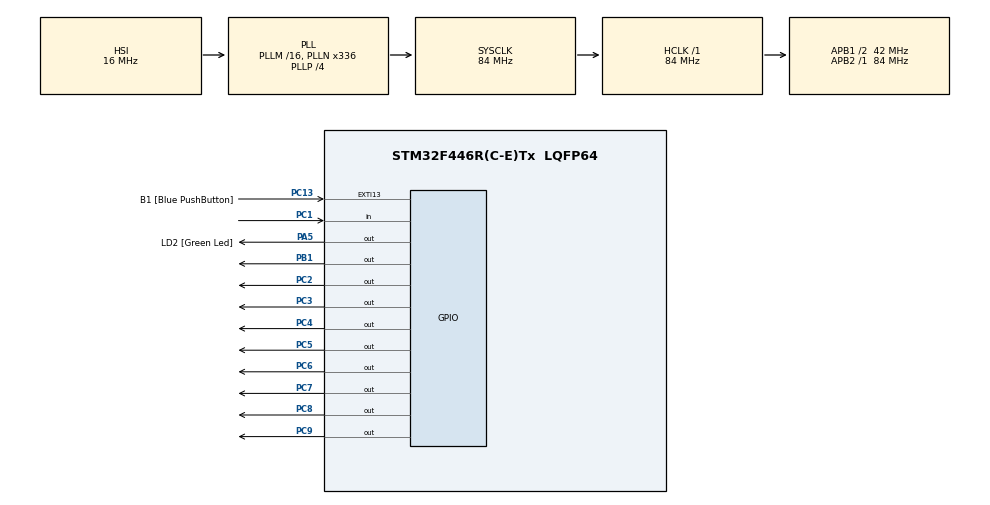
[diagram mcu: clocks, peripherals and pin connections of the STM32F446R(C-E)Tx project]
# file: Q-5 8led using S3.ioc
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Mcu.Family=STM32F4
Mcu.Name=STM32F446R(C-E)Tx
Mcu.Package=LQFP64
NVIC.PriorityGroup=NVIC_PRIORITYGROUP_0
PA13.GPIO_Label=TMS
PA13.Signal=SYS_JTMS-SWDIO
PA14.GPIO_Label=TCK
PA14.Signal=SYS_JTCK-SWCLK
PA2.GPIO_Label=USART_TX
PA2.Signal=USART2_TX
PA3.GPIO_Label=USART_RX
PA3.Signal=USART2_RX
PA5.GPIO_Label=LD2 [Green Led]
PA5.Signal=GPIO_Output
PB1.Signal=GPIO_Output
PB3.GPIO_Label=SWO
PB3.Signal=SYS_JTDO-SWO
PC1.GPIO_PuPd=GPIO_PULLUP
PC1.Signal=GPIO_Input
PC13.GPIO_Label=B1 [Blue PushButton]
PC13.GPIO_ModeDefaultEXTI=GPIO_MODE_IT_FALLING
PC13.Signal=GPXTI13
PC14-OSC32_IN.Signal=RCC_OSC32_IN
PC15-OSC32_OUT.Signal=RCC_OSC32_OUT
PC2.Signal=GPIO_Output
PC3.Signal=GPIO_Output
PC4.Signal=GPIO_Output
PC5.Signal=GPIO_Output
PC6.Signal=GPIO_Output
PC7.Signal=GPIO_Output
PC8.Signal=GPIO_Output
PC9.Signal=GPIO_Output
PH0-OSC_IN.Signal=RCC_OSC_IN
PH1-OSC_OUT.Signal=RCC_OSC_OUT
ProjectManager.HeapSize=0x200
ProjectManager.StackSize=0x400
ProjectManager.TargetToolchain=STM32CubeIDE
RCC.AHBFreq_Value=84000000
RCC.APB1CLKDivider=RCC_HCLK_DIV2
RCC.APB1Freq_Value=42000000
RCC.APB1TimFreq_Value=84000000
RCC.APB2Freq_Value=84000000
RCC.APB2TimFreq_Value=84000000
RCC.CortexFreq_Value=84000000
RCC.FLatency-AdvancedSettings=FLASH_LATENCY_2
RCC.HCLKFreq_Value=84000000
RCC.HSE_VALUE=8000000
RCC.HSI_VALUE=16000000
RCC.LSE_VALUE=32768
RCC.PLLN=336
RCC.PLLP=RCC_PLLP_DIV4
RCC.SYSCLKFreq_VALUE=84000000
RCC.SYSCLKSource=RCC_SYSCLKSOURCE_PLLCLK
RCC.USBFreq_Value=168000000
RCC.VCOOutputFreq_Value=336000000
board=NUCLEO-F446RE

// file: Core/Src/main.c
/* USER CODE BEGIN Header */
/**
  ******************************************************************************
  * @file           : main.c
  * @brief          : Main program body
  ******************************************************************************
  * @attention
  *
  * Copyright (c) 2024 STMicroelectronics.
  * All rights reserved.
  *
  * This software is licensed under terms that can be found in the LICENSE file
  * in the root directory of this software component.
  * If no LICENSE file comes with this software, it is provided AS-IS.
  *
  ******************************************************************************
  */
/* USER CODE END Header */
#include "main.h"

void SystemClock_Config(void);
static void MX_GPIO_Init(void);

int main(void)
{

  /* MCU Configuration--------------------------------------------------------*/

  /* Reset of all peripherals, Initializes the Flash interface and the Systick. */
  HAL_Init();

  /* Configure the system clock */
  SystemClock_Config();

  /* Initialize all configured peripherals */
  MX_GPIO_Init();

  /* Infinite loop */
  while (1)
  {

    /* USER CODE BEGIN 3 */
	  if(HAL_GPIO_ReadPin(GPIOC, GPIO_PIN_1)==GPIO_PIN_RESET)
	  	 	  	  {
	  	 	  	  	  HAL_GPIO_WritePin(GPIOC, GPIO_PIN_2,1);
	  	 	  	  	  HAL_GPIO_WritePin(GPIOC, GPIO_PIN_3,1);//If pressed Led Switch On
	  	 	  	   HAL_GPIO_WritePin(GPIOC, GPIO_PIN_4,1);
	  	 	  	 HAL_GPIO_WritePin(GPIOC, GPIO_PIN_5,1);
	  	 	  HAL_GPIO_WritePin(GPIOC, GPIO_PIN_6,1);
	  	 	 HAL_GPIO_WritePin(GPIOC, GPIO_PIN_7,1);
	  	 	 HAL_GPIO_WritePin(GPIOC, GPIO_PIN_8,1);
	  	 	 HAL_GPIO_WritePin(GPIOB, GPIO_PIN_1,1);
	  	 	  	  }
	  	 	  	  else
	  	 	  	  {
	  	 	  		  HAL_GPIO_WritePin(GPIOC,GPIO_PIN_2,0);
	  	 	  	      HAL_GPIO_WritePin(GPIOC,GPIO_PIN_3,0);
	  	 	  	   HAL_GPIO_WritePin(GPIOC,GPIO_PIN_4,0);
	  	 	  	   HAL_GPIO_WritePin(GPIOC,GPIO_PIN_5,0);
	  	 	  	 HAL_GPIO_WritePin(GPIOC,GPIO_PIN_6,0);
	  	 	  HAL_GPIO_WritePin(GPIOC,GPIO_PIN_7,0);
	  	 	 HAL_GPIO_WritePin(GPIOC,GPIO_PIN_8,0);
	  	 	 HAL_GPIO_WritePin(GPIOB,GPIO_PIN_1,0);
	  	 	  	  }
	  	   }

  /* USER CODE END 3 */
}

void SystemClock_Config(void)
{
  RCC_OscInitTypeDef RCC_OscInitStruct = {0};
  RCC_ClkInitTypeDef RCC_ClkInitStruct = {0};

  /** Configure the main internal regulator output voltage
  */
  __HAL_RCC_PWR_CLK_ENABLE();
  __HAL_PWR_VOLTAGESCALING_CONFIG(PWR_REGULATOR_VOLTAGE_SCALE3);

  /** Initializes the RCC Oscillators according to the specified parameters
  * in the RCC_OscInitTypeDef structure.
  */
  RCC_OscInitStruct.OscillatorType = RCC_OSCILLATORTYPE_HSI;
  RCC_OscInitStruct.HSIState = RCC_HSI_ON;
  RCC_OscInitStruct.HSICalibrationValue = RCC_HSICALIBRATION_DEFAULT;
  RCC_OscInitStruct.PLL.PLLState = RCC_PLL_ON;
  RCC_OscInitStruct.PLL.PLLSource = RCC_PLLSOURCE_HSI;
  RCC_OscInitStruct.PLL.PLLM = 16;
  RCC_OscInitStruct.PLL.PLLN = 336;
  RCC_OscInitStruct.PLL.PLLP = RCC_PLLP_DIV4;
  RCC_OscInitStruct.PLL.PLLQ = 2;
  RCC_OscInitStruct.PLL.PLLR = 2;
  if (HAL_RCC_OscConfig(&RCC_OscInitStruct) != HAL_OK)
  {
    Error_Handler();
  }

  /** Initializes the CPU, AHB and APB buses clocks
  */
  RCC_ClkInitStruct.ClockType = RCC_CLOCKTYPE_HCLK|RCC_CLOCKTYPE_SYSCLK
                              |RCC_CLOCKTYPE_PCLK1|RCC_CLOCKTYPE_PCLK2;
  RCC_ClkInitStruct.SYSCLKSource = RCC_SYSCLKSOURCE_PLLCLK;
  RCC_ClkInitStruct.AHBCLKDivider = RCC_SYSCLK_DIV1;
  RCC_ClkInitStruct.APB1CLKDivider = RCC_HCLK_DIV2;
  RCC_ClkInitStruct.APB2CLKDivider = RCC_HCLK_DIV1;

  if (HAL_RCC_ClockConfig(&RCC_ClkInitStruct, FLASH_LATENCY_2) != HAL_OK)
  {
    Error_Handler();
  }
}

static void MX_GPIO_Init(void)
{
  GPIO_InitTypeDef GPIO_InitStruct = {0};

  /* GPIO Ports Clock Enable */
  __HAL_RCC_GPIOC_CLK_ENABLE();
  __HAL_RCC_GPIOH_CLK_ENABLE();
  __HAL_RCC_GPIOA_CLK_ENABLE();
  __HAL_RCC_GPIOB_CLK_ENABLE();

  /*Configure GPIO pin Output Level */
  HAL_GPIO_WritePin(GPIOC, GPIO_PIN_2|GPIO_PIN_3|GPIO_PIN_4|GPIO_PIN_5
                          |GPIO_PIN_6|GPIO_PIN_7|GPIO_PIN_8|GPIO_PIN_9, GPIO_PIN_RESET);

  /*Configure GPIO pin Output Level */
  HAL_GPIO_WritePin(LD2_GPIO_Port, LD2_Pin, GPIO_PIN_RESET);

  /*Configure GPIO pin Output Level */
  HAL_GPIO_WritePin(GPIOB, GPIO_PIN_1, GPIO_PIN_RESET);

  /*Configure GPIO pin : B1_Pin */
  GPIO_InitStruct.Pin = B1_Pin;
  GPIO_InitStruct.Mode = GPIO_MODE_IT_FALLING;
  GPIO_InitStruct.Pull = GPIO_NOPULL;
  HAL_GPIO_Init(B1_GPIO_Port, &GPIO_InitStruct);

  /*Configure GPIO pin : PC1 */
  GPIO_InitStruct.Pin = GPIO_PIN_1;
  GPIO_InitStruct.Mode = GPIO_MODE_INPUT;
  GPIO_InitStruct.Pull = GPIO_PULLUP;
  HAL_GPIO_Init(GPIOC, &GPIO_InitStruct);

  /*Configure GPIO pins : PC2 PC3 PC4 PC5
                           PC6 PC7 PC8 PC9 */
  GPIO_InitStruct.Pin = GPIO_PIN_2|GPIO_PIN_3|GPIO_PIN_4|GPIO_PIN_5
                          |GPIO_PIN_6|GPIO_PIN_7|GPIO_PIN_8|GPIO_PIN_9;
  GPIO_InitStruct.Mode = GPIO_MODE_OUTPUT_PP;
  GPIO_InitStruct.Pull = GPIO_NOPULL;
  GPIO_InitStruct.Speed = GPIO_SPEED_FREQ_LOW;
  HAL_GPIO_Init(GPIOC, &GPIO_InitStruct);

  /*Configure GPIO pins : USART_TX_Pin USART_RX_Pin */
  GPIO_InitStruct.Pin = USART_TX_Pin|USART_RX_Pin;
  GPIO_InitStruct.Mode = GPIO_MODE_AF_PP;
  GPIO_InitStruct.Pull = GPIO_NOPULL;
  GPIO_InitStruct.Speed = GPIO_SPEED_FREQ_VERY_HIGH;
  GPIO_InitStruct.Alternate = GPIO_AF7_USART2;
  HAL_GPIO_Init(GPIOA, &GPIO_InitStruct);

  /*Configure GPIO pin : LD2_Pin */
  GPIO_InitStruct.Pin = LD2_Pin;
  GPIO_InitStruct.Mode = GPIO_MODE_OUTPUT_PP;
  GPIO_InitStruct.Pull = GPIO_NOPULL;
  GPIO_InitStruct.Speed = GPIO_SPEED_FREQ_LOW;
  HAL_GPIO_Init(LD2_GPIO_Port, &GPIO_InitStruct);

  /*Configure GPIO pin : PB1 */
  GPIO_InitStruct.Pin = GPIO_PIN_1;
  GPIO_InitStruct.Mode = GPIO_MODE_OUTPUT_PP;
  GPIO_InitStruct.Pull = GPIO_NOPULL;
  GPIO_InitStruct.Speed = GPIO_SPEED_FREQ_LOW;
  HAL_GPIO_Init(GPIOB, &GPIO_InitStruct);

}

void Error_Handler(void)
{
  __disable_irq();
  while (1)
  {
  }
}
